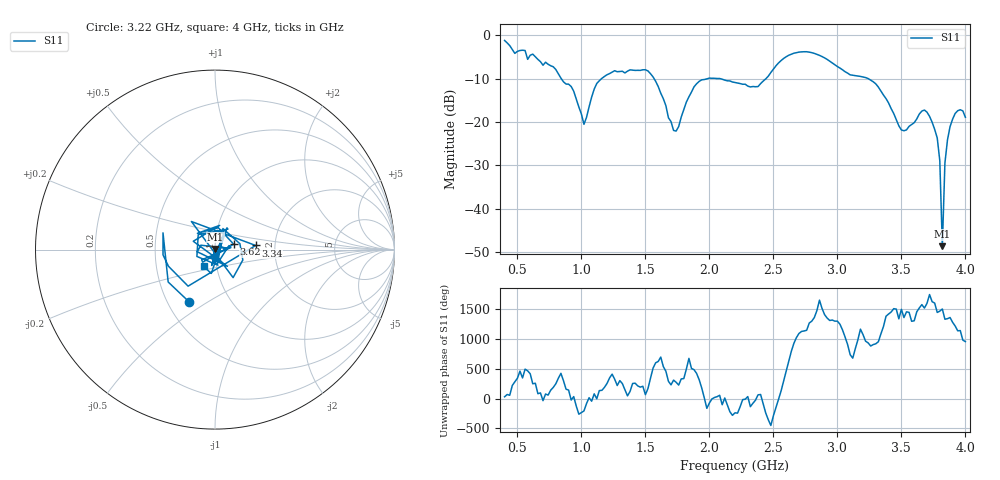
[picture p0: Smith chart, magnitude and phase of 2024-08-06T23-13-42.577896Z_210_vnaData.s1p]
!Created with skrf (http://scikit-rf.org).
# Hz S RI R 50.0
!freq ReS11 ImS11
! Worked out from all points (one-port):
!   181 points, 400 MHz to 4 GHz, reference 50 ohm
!   lowest |S11| = -48.7 dB at 3.82 GHz (marker M1), VSWR 1.01, Z = 50.2 + j0.333 ohm
!   |S11| at or under -10 dB: 1.568 GHz to 1.986 GHz (418.2 MHz wide, 23.5 % of centre); 2.084 GHz to 2.442 GHz (357.6 MHz wide, 15.8 % of centre); 3.242 GHz to end of sweep (the widest 3 of 4)
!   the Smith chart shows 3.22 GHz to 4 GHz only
!   S11 on the Smith chart (normalised r, x): 3.22 GHz: 0.64, -0.42; 3.34 GHz: 1.58, +0.08; 3.62 GHz: 1.23, +0.08; 4 GHz: 0.87, -0.16
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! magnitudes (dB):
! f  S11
! 400 MHz  -1.2
! 860 MHz  -10.7
! 940 MHz  -12.9
! 1.02 GHz  -20.5
! 1.12 GHz  -11.1
! 1.3 GHz  -8.4
! 1.52 GHz  -8.2
! 1.6 GHz  -11.8
! 1.72 GHz  -22.0
! 1.76 GHz  -21.1
! 1.92 GHz  -10.6
! 2.2 GHz  -10.9
! 2.38 GHz  -11.8
! 2.66 GHz  -4.1
! 3.1 GHz  -9.1
! 3.22 GHz  -9.8
! 3.34 GHz  -12.9
! 3.5 GHz  -21.8
! 3.56 GHz  -21.0
! 3.62 GHz  -19.3
! 3.7 GHz  -17.7
! 3.78 GHz  -23.7
! 3.8 GHz  -28.9
! 3.82 GHz  -48.7
! 3.84 GHz  -29.5
! 3.86 GHz  -24.2
! 3.92 GHz  -18.0
! 4 GHz  -18.9
